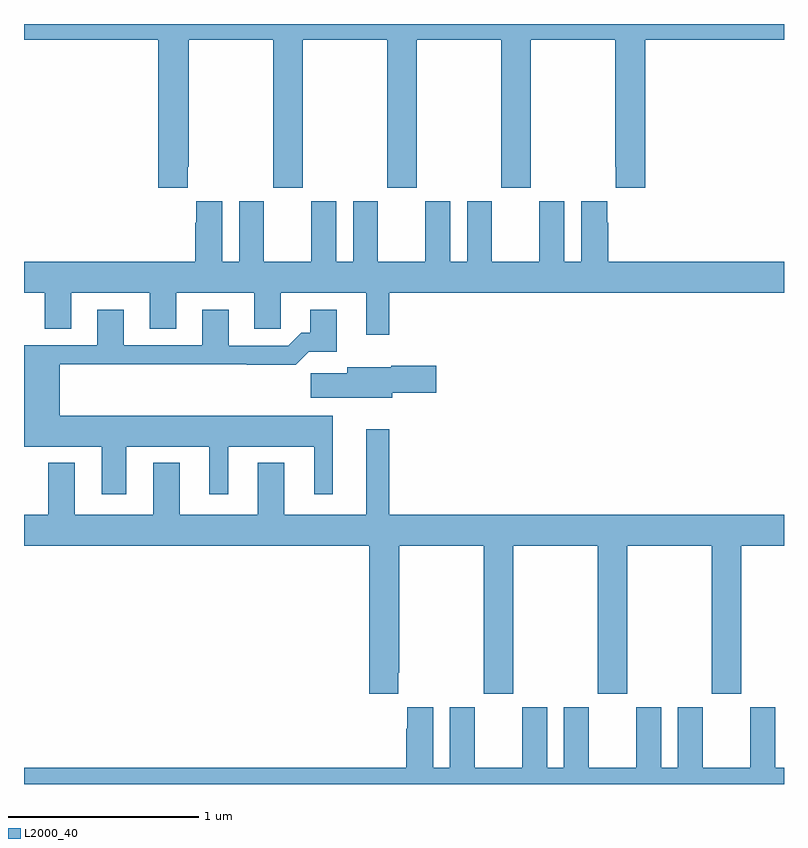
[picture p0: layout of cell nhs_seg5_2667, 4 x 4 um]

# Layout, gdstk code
import gdstk
lib = gdstk.Library(unit=1e-6, precision=1e-09)
def P(c, l, *ps):  # polygons
    for p in ps: c.add(gdstk.Polygon(p, *l))
L2000_40 = (2000, 40)

nhs_seg5_2667 = lib.new_cell('nhs_seg5_2667')
P(nhs_seg5_2667, L2000_40, [(265,900.716),(265.706,900.716),(265.706,899.937),(265.861,899.937),(265.861,900.049),(265.866,900.049),(265.866,900.716),(266.311,900.716),(266.311,899.937),(266.466,899.937),(266.466,900.716),(266.911,900.716),(266.911,899.937),(267.066,899.937),(267.066,900.716),(267.511,900.716),(267.511,899.937),(267.666,899.937),(267.666,900.716),(268.111,900.716),(268.111,900.049),(268.115,900.049),(268.115,899.937),(268.271,899.937),(268.271,900.716),(269,900.716),(269,900.799),(265,900.799)],
  [(266.863,899.866),(266.732,899.866),(266.732,899.548),(266.644,899.548),(266.644,899.866),(266.513,899.866),(266.513,899.548),(266.263,899.548),(266.263,899.866),(266.132,899.866),(266.132,899.548),(266.044,899.548),(266.044,899.866),(265.907,899.866),(265.907,899.753),(265.901,899.753),(265.901,899.548),(265,899.548),(265,899.384),(265.109,899.384),(265.109,899.194),(265.249,899.194),(265.249,899.384),(265.661,899.384),(265.661,899.194),(265.801,899.194),(265.801,899.384),(266.213,899.384),(266.213,899.194),(266.352,899.194),(266.352,899.384),(266.801,899.384),(266.801,899.163),(266.923,899.163),(266.923,899.384),(269,899.384),(269,899.548),(268.076,899.548),(268.076,899.753),(268.069,899.753),(268.069,899.866),(267.932,899.866),(267.932,899.548),(267.844,899.548),(267.844,899.866),(267.713,899.866),(267.713,899.548),(267.463,899.548),(267.463,899.866),(267.332,899.866),(267.332,899.548),(267.244,899.548),(267.244,899.866),(267.113,899.866),(267.113,899.548),(266.863,899.548)],
  [(265.537,898.574),(265.976,898.574),(265.976,898.323),(266.074,898.323),(266.074,898.574),(266.528,898.574),(266.528,898.323),(266.626,898.323),(266.626,898.738),(265.189,898.738),(265.189,899.008),(266.173,899.008),(266.173,899.006),(266.429,899.006),(266.498,899.075),(266.647,899.075),(266.647,899.296),(266.507,899.296),(266.507,899.173),(266.458,899.173),(266.391,899.106),(266.077,899.106),(266.077,899.296),(265.937,899.296),(265.937,899.109),(265.525,899.109),(265.525,899.296),(265.385,899.296),(265.385,899.109),(265,899.109),(265,898.574),(265.409,898.574),(265.409,898.323),(265.537,898.323)],
  [(266.938,898.859),(267.169,898.859),(267.169,899.001),(266.934,899.001),(266.934,898.993),(266.702,898.993),(266.702,898.961),(266.508,898.961),(266.508,898.832),(266.938,898.832)],
  [(266.971,897.385),(266.976,897.385),(266.976,898.052),(267.421,898.052),(267.421,897.273),(267.576,897.273),(267.576,898.052),(268.021,898.052),(268.021,897.273),(268.176,897.273),(268.176,898.052),(268.621,898.052),(268.621,897.273),(268.776,897.273),(268.776,898.052),(269,898.052),(269,898.216),(266.923,898.216),(266.923,898.666),(266.801,898.666),(266.801,898.216),(266.371,898.216),(266.371,898.489),(266.231,898.489),(266.231,898.216),(265.819,898.216),(265.819,898.489),(265.679,898.489),(265.679,898.216),(265.267,898.216),(265.267,898.489),(265.127,898.489),(265.127,898.216),(265,898.216),(265,898.052),(266.816,898.052),(266.816,897.273),(266.971,897.273)],
  [(267.623,897.202),(267.623,896.884),(267.373,896.884),(267.373,897.202),(267.242,897.202),(267.242,896.884),(267.154,896.884),(267.154,897.202),(267.017,897.202),(267.017,897.089),(267.011,897.089),(267.011,896.884),(265,896.884),(265,896.799),(269,896.799),(269,896.884),(268.954,896.884),(268.954,897.202),(268.823,897.202),(268.823,896.884),(268.573,896.884),(268.573,897.202),(268.442,897.202),(268.442,896.884),(268.354,896.884),(268.354,897.202),(268.223,897.202),(268.223,896.884),(267.973,896.884),(267.973,897.202),(267.842,897.202),(267.842,896.884),(267.754,896.884),(267.754,897.202)])

lib.write_gds('nhs_seg5_2667.gds')
